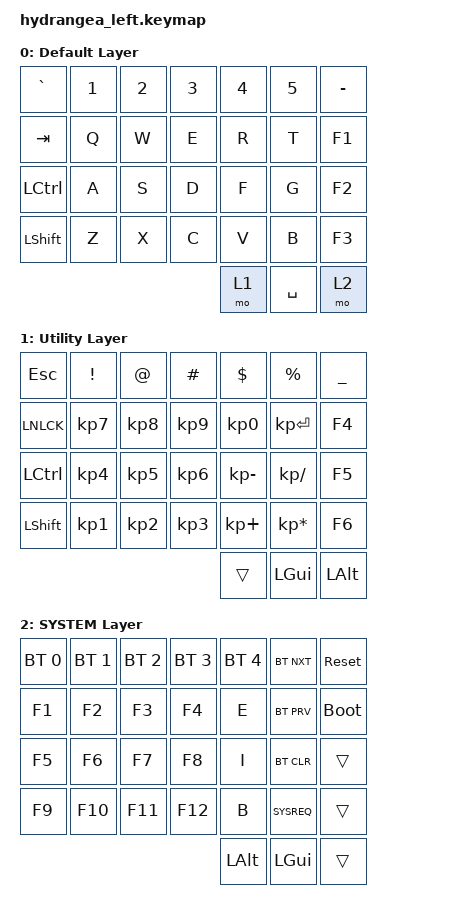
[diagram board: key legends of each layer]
/*
 * Copyright (c) 2020 The ZMK Contributors
 *
 * SPDX-License-Identifier: MIT
 */

#include <behaviors.dtsi>
#include <dt-bindings/zmk/keys.h>
#include <dt-bindings/zmk/bt.h>

/ {
      keymap {
            compatible = "zmk,keymap";
            default_layer {
                  display-name = "Default Layer";
                  bindings = <
//    -------------------------------------------------------------------------------------------
//    |  `        |  1        |  2        |  3        |  4        |  5        |  -              |
//    | TAB       |  Q        |  W        |  E        |  R        |  T        | F01             |
//    | L_CTRL    |  A        |  S        |  D        |  F        |  G        | F02             |
//    | L_SHFT    |  Z        |  X        |  C        |  V        |  B        | F03             |
//                                                    | ULTIL     | SPC       | SYSTEM          |
//    -------------------------------------------------------------------------------------------
      &kp GRAVE   &kp N1      &kp N2      &kp N3      &kp N4      &kp N5      &kp MINUS
      &kp TAB     &kp Q       &kp W       &kp E       &kp R       &kp T       &kp F1
      &kp LCTRL   &kp A       &kp S       &kp D       &kp F       &kp G       &kp F2
      &kp LSHFT   &kp Z       &kp X       &kp C       &kp V       &kp B       &kp F3
                                                      &mo 1       &kp SPACE   &mo 2
                  >;
            };
            lower_layer {
                  display-name = "Utility Layer";
                  bindings = <
//    -------------------------------------------------------------------------------------------------------
//    | ESC       |  !        | @         | #         | $         | %         |  _              | =         |
//    | KP_NUMLK  | KP_N7     | KP_N8     | KP_N9     | KP_N0     | KP_ENTER  | F04             | F07       |
//    | L_CTRL    | KP_N4     | KP_N5     | KP_N6     | KP_-      | KP_/      | F05             | F08       |
//    | L_SHIFT   | KP_N1     | KP_N2     | KP_N3     | KP_+      | KP_*      | F06             | F09       |
//                                                    |           | L_GUI     | L_ALT           | R_ALT     |
//    -------------------------------------------------------------------------------------------------------
      &kp ESC     &kp EXCL    &kp AT      &kp HASH    &kp DOLLAR        &kp PRCNT         &kp UNDER
      &kp LNLCK   &kp KP_N7   &kp KP_N8   &kp KP_N9   &kp KP_N0         &kp KP_ENTER      &kp F4
      &kp LCTRL   &kp KP_N4   &kp KP_N5   &kp KP_N6   &kp KP_MINUS      &kp KP_SLASH      &kp F5
      &kp LSHFT   &kp KP_N1   &kp KP_N2   &kp KP_N3   &kp KP_PLUS       &kp KP_ASTERISK   &kp F6
                                                      &trans            &kp LGUI          &kp LALT
                  >;
            };
            raise_layer {
                  display-name = "SYSTEM Layer";
                  bindings = <
//    -------------------------------------------------------------------------------------------
//    | BT_SEL 0  | BT_SEL 1  | BT_SEL 2  | BT_SEL 3  | BT_SEL 4  | BT_NEXT   | SYS_RESET       |
//    |  F01      | F02       | F03       | F04       | E         | BT_PREV   | BOOTLOADER      |
//    |  F05      | F06       | F07       | F08       | I         | BT_CLEAR  |                 |
//    |  F09      | F10       | F11       | F12       | B         | SYSREQ    |                 |
//                                                    | L_ALT     | L_GUI     |                 |
//    -------------------------------------------------------------------------------------------
      &bt BT_SEL 0      &bt BT_SEL 1      &bt BT_SEL 2      &bt BT_SEL 3      &bt BT_SEL 4      &bt BT_NXT        &sys_reset       
      &kp F1            &kp F2            &kp F3            &kp F4            &kp E             &bt BT_PRV        &bootloader      
      &kp F5            &kp F6            &kp F7            &kp F8            &kp I             &bt BT_CLR        &trans           
      &kp F9            &kp F10           &kp F11           &kp F12           &kp B             &kp SYSREQ        &trans           
                                                                              &kp LALT          &kp LGUI          &trans           
                  >;
            };
      };
};
